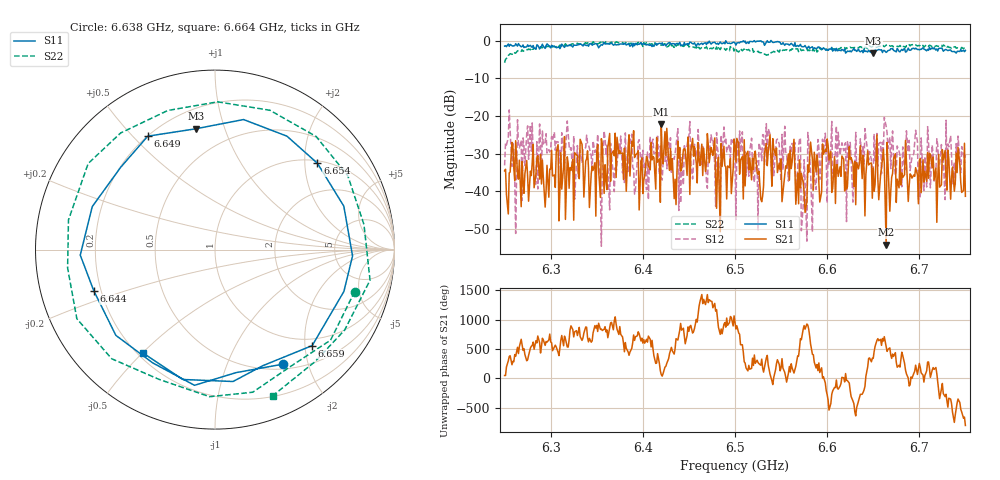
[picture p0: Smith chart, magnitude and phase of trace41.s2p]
# Hz S RI R 50
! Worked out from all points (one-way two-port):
!   401 points, 6.25 GHz to 6.75 GHz, reference 50 ohm
!   highest |S21| = -22.14 dB at 6.42 GHz (marker M1); lowest = -54.2 dB at 6.664 GHz (marker M2)
!   lowest |S11| = -3.3 dB at 6.65 GHz (marker M3), VSWR 5.28, Z = 15.9 + j40.1 ohm
!   |S11| at or under -10 dB: nowhere
!   |S22| runs from -5.8 to -0.2 dB; largest |S21 - S12| = 0.12
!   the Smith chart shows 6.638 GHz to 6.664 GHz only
!   S11 on the Smith chart (normalised r, x): 6.638 GHz: 0.57, -1.61; 6.644 GHz: 0.17, -0.16; 6.649 GHz: 0.20, +0.55; 6.654 GHz: 1.07, +2.31; 6.659 GHz: 0.85, -2.16; 6.664 GHz: 0.22, -0.50
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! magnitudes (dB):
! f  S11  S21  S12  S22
! 6.25 GHz  -1.4  -34.6  -33.1  -5.8
! 6.334 GHz  -1.1  -27.5  -32.5  -0.7
! 6.418 GHz  -0.6  -31.4  -35.4  -1.2
! 6.42 GHz  -0.8  -22.1  -36.4  -1.2
! 6.472 GHz  -0.1  -32.4  -30.2  -2.1
! 6.481 GHz  -0.6  -34.1  -28.5  -2.4
! 6.5 GHz  -0.6  -27.8  -30.9  -1.9
! 6.522 GHz  -0.3  -29.3  -32.8  -3.0
! 6.529 GHz  -0.2  -42.8  -31.9  -3.2
! 6.535 GHz  0.0  -33.2  -31.1  -3.8
! 6.562 GHz  -0.9  -32.2  -27.3  -2.1
! 6.575 GHz  -1.5  -40.1  -31.6  -2.5
! 6.584 GHz  -1.6  -31.4  -50.8  -2.6
! 6.638 GHz  -2.6  -36.6  -31.3  -1.8
! 6.644 GHz  -2.9  -29.3  -29.3  -2.1
! 6.649 GHz  -2.7  -41.8  -34.4  -1.6
! 6.65 GHz  -3.3  -33.8  -35.9  -1.4
! 6.654 GHz  -2.5  -25.1  -24.6  -1.7
! 6.659 GHz  -2.4  -33.6  -35.3  -1.5
! 6.664 GHz  -3.1  -54.2  -22.7  -1.2
! 6.668 GHz  -2.5  -45.3  -25.6  -1.3
! 6.75 GHz  -2.5  -41.3  -30.3  -2.0
